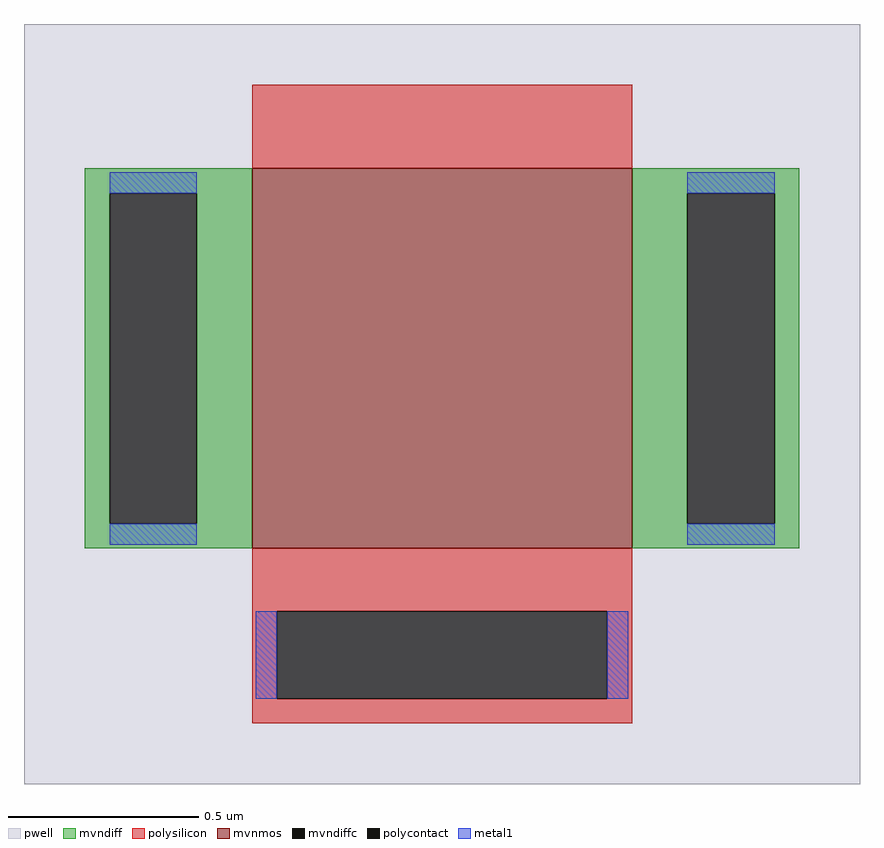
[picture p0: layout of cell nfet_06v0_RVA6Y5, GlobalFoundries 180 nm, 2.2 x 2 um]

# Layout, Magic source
magic
tech gf180mcuD
magscale 1 10
<< pwell >>
rect -220 -200 220 200
<< mvnmos >>
rect -100 -76 100 124
<< mvndiff >>
rect -188 111 -100 124
rect -188 -63 -175 111
rect -129 -63 -100 111
rect -188 -76 -100 -63
rect 100 111 188 124
rect 100 -63 129 111
rect 175 -63 188 111
rect 100 -76 188 -63
<< mvndiffc >>
rect -175 -63 -129 111
rect 129 -63 175 111
<< polysilicon >>
rect -100 124 100 168
rect -100 -109 100 -76
rect -100 -155 -87 -109
rect 87 -155 100 -109
rect -100 -168 100 -155
<< polycontact >>
rect -87 -155 87 -109
<< metal1 >>
rect -175 111 -129 122
rect -175 -74 -129 -63
rect 129 111 175 122
rect 129 -74 175 -63
rect -98 -155 -87 -109
rect 87 -155 98 -109
<< properties >>
string gencell nfet_05v0
string library gf180mcu
string parameters w 1.0 l 1.0 m 1 nf 1 diffcov 100 polycov 100 guard 0 glc 0 grc 0 gtc 0 gbc 0 tbcov 100 rlcov 100 topc 0 botc 1 poverlap 0 doverlap 0 lmin 0.7 wmin 0.3 class mosfet full_metal 0 compatible {nfet_03v3 nfet_05v0 nfet_06v0 nfet_06v0_nvt}
<< end >>
